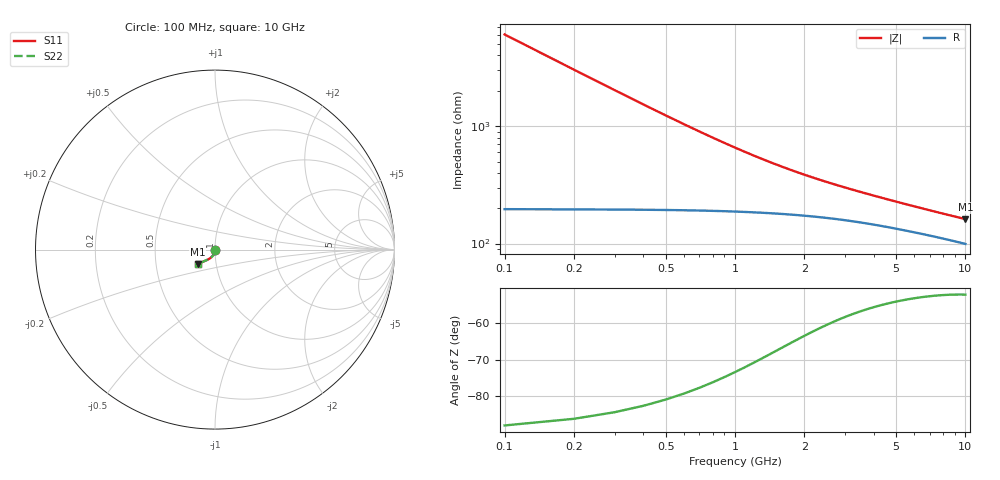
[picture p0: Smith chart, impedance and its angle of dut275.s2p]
! Touchstone file exported from HFSS 2024.1.0
!  File:  C:/UserFiles/LocalFiles/RDL_TSV_Batchsim/temp_TSV1_275_1778770116.aedt
!  Generated:  10:52:33 PM May 14, 2026
!  Design:  TSV1
!  Project:  temp_TSV1_275_1778770116
!  Setup:  Setup1
!  Solution:  Sweep
! Variables:
!  dtsv = 24.18um
!  hbump = 3um
!  htsv = 90.49um
!  lrdl = 252.1521522um
!  p = 40
!  p1 = 55.48um
!  t = 500um
!  trdl = 3um
!  wrdl = 24.89489489um
# GHz S MA R 50.000000
! Terminal data exported
! Port[1] = TSV22_T1
! Port[2] = TSV22_T2
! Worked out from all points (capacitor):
!   100 points, 100 MHz to 10 GHz, reference 50 ohm
!   read as one part in shunt: C = 263 fF near 100 MHz
!   lowest |Z| = 162 ohm at 10 GHz (marker M1)
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0.1  0.003842 -91.0  0.9998 -0.3  0.9998 -0.3  0.003842 -91.0
! Gamma 0 0 0 0
! Port Impedance 50 0 50 0
0.2  0.007661 -93.7  0.9993 -0.5  0.9993 -0.5  0.007661 -93.7
0.3  0.01143 -95.9  0.9986 -0.8  0.9986 -0.8  0.01143 -95.9
0.4  0.01514 -98.1  0.9976 -1.0  0.9976 -1.0  0.01514 -98.1
0.5  0.01877 -100.1  0.9964 -1.2  0.9964 -1.2  0.01877 -100.1
0.6  0.0223 -102.1  0.995 -1.4  0.995 -1.4  0.0223 -102.1
0.7  0.02571 -104.0  0.9935 -1.6  0.9935 -1.6  0.02571 -104.0
0.8  0.029 -105.8  0.9918 -1.8  0.9918 -1.8  0.029 -105.8
0.9  0.03216 -107.5  0.9901 -2.0  0.9901 -2.0  0.03216 -107.5
1.1  0.03809 -110.7  0.9864 -2.4  0.9864 -2.4  0.03809 -110.7
1.4  0.046 -115.0  0.9807 -2.8  0.9807 -2.8  0.046 -115.0
1.6  0.05066 -117.4  0.977 -3.1  0.977 -3.1  0.05066 -117.4
1.8  0.05488 -119.6  0.9735 -3.3  0.9735 -3.3  0.05488 -119.6
2.1  0.06053 -122.3  0.9684 -3.6  0.9684 -3.6  0.06053 -122.3
2.5  0.06703 -125.3  0.9623 -3.9  0.9623 -3.9  0.06703 -125.3
2.9  0.07264 -127.7  0.9569 -4.2  0.9569 -4.2  0.07264 -127.7
3.4  0.07877 -130.0  0.951 -4.5  0.951 -4.5  0.07877 -130.0
4.2  0.08717 -132.6  0.9429 -5.0  0.9429 -5.0  0.08717 -132.6
5.1  0.09522 -134.8  0.9353 -5.5  0.9353 -5.5  0.09522 -134.8
6.7  0.1071 -137.5  0.9243 -6.2  0.9243 -6.2  0.1071 -137.5
8.4  0.1174 -139.3  0.9151 -7.0  0.9151 -7.0  0.1174 -139.3
10  0.1256 -140.5  0.9081 -7.7  0.9081 -7.7  0.1256 -140.5
